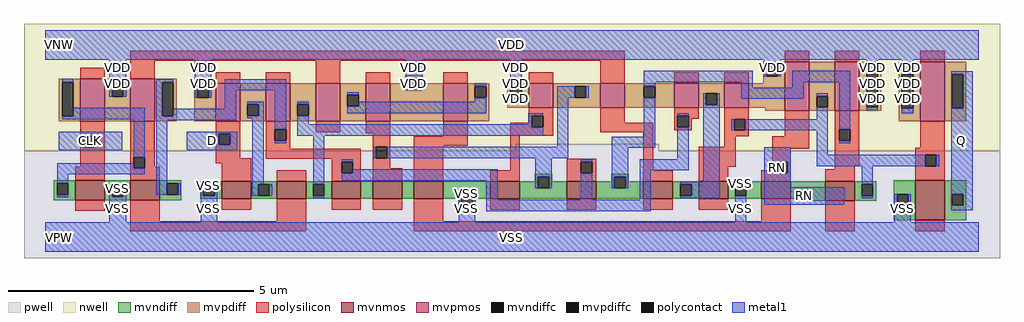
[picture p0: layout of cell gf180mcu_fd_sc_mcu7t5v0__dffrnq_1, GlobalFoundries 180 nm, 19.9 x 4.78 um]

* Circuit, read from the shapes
.subckt gf180mcu_fd_sc_mcu7t5v0__dffrnq_1 D RN CLK Q VDD VNW VPW VSS
XM1 VSS CLK n1 VPW nfet_06v0 w=0.405u l=0.6u
XM2 n2 n1 VSS VPW nfet_06v0 w=0.405u l=0.6u
XM3 n3 D VSS VPW nfet_06v0 w=0.36u l=0.6u
XM4 n4 n1 n3 VPW nfet_06v0 w=0.36u l=0.6u
XM5 n5 n2 n4 VPW nfet_06v0 w=0.36u l=0.6u
XM6 n6 n7 n5 VPW nfet_06v0 w=0.36u l=0.6u
XM7 VSS RN n6 VPW nfet_06v0 w=0.36u l=0.6u
XM8 n7 n4 VSS VPW nfet_06v0 w=0.36u l=0.6u
XM9 n8 n2 n7 VPW nfet_06v0 w=0.36u l=0.6u
XM10 n9 n1 n8 VPW nfet_06v0 w=0.36u l=0.6u
XM11 VSS n10 n9 VPW nfet_06v0 w=0.36u l=0.6u
XM12 n11 RN VSS VPW nfet_06v0 w=0.36u l=0.6u
XM13 n10 n8 n11 VPW nfet_06v0 w=0.4u l=0.6u
XM14 Q n10 VSS VPW nfet_06v0 w=0.815u l=0.6u
XM15 VDD CLK n1 VNW pfet_06v0 w=0.865u l=0.5u
XM16 n2 n1 VDD VNW pfet_06v0 w=0.865u l=0.5u
XM17 n3 D VDD VNW pfet_06v0 w=0.78u l=0.5u
XM18 n4 n2 n3 VNW pfet_06v0 w=0.78u l=0.5u
XM19 n12 n1 n4 VNW pfet_06v0 w=0.78u l=0.5u
XM20 VDD n7 n12 VNW pfet_06v0 w=0.78u l=0.5u
XM21 n12 RN VDD VNW pfet_06v0 w=0.78u l=0.5u
XM22 n7 n4 VDD VNW pfet_06v0 w=0.505u l=0.5u
XM23 n8 n1 n7 VNW pfet_06v0 w=0.505u l=0.5u
XM24 n9 n2 n8 VNW pfet_06v0 w=0.505u l=0.5u
XM25 VDD n10 n9 VNW pfet_06v0 w=0.505u l=0.5u
XM26 n10 RN VDD VNW pfet_06v0 w=1u l=0.5u
XM27 VDD n8 n10 VNW pfet_06v0 w=1u l=0.5u
XM28 Q n10 VDD VNW pfet_06v0 w=1.215u l=0.5u
.ends

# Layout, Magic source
magic
tech gf180mcuD
magscale 1 10
<< nwell >>
rect -86 379 3894 870
rect -86 352 1920 379
rect 2503 352 3894 379
<< pwell >>
rect 1920 352 2503 379
rect -86 -86 3894 352
<< mvnmos >>
rect 124 151 244 232
rect 348 151 468 232
rect 720 156 840 228
rect 944 156 1064 228
rect 1168 156 1288 228
rect 1336 156 1456 228
rect 1504 156 1624 228
rect 1816 156 1936 228
rect 2128 156 2248 228
rect 2440 156 2560 228
rect 2665 156 2785 228
rect 2921 156 3041 228
rect 3181 148 3301 228
rect 3549 69 3669 232
<< mvpmos >>
rect 144 472 244 645
rect 348 472 448 645
rect 696 472 796 628
rect 900 472 1000 628
rect 1104 472 1204 628
rect 1308 472 1408 628
rect 1624 472 1724 628
rect 1972 527 2072 628
rect 2264 527 2364 628
rect 2565 527 2665 628
rect 2769 527 2869 628
rect 3017 516 3117 716
rect 3221 516 3321 716
rect 3569 472 3669 715
<< mvndiff >>
rect 36 219 124 232
rect 36 173 49 219
rect 95 173 124 219
rect 36 151 124 173
rect 244 210 348 232
rect 244 164 273 210
rect 319 164 348 210
rect 244 151 348 164
rect 468 219 556 232
rect 1996 246 2068 259
rect 1996 228 2009 246
rect 468 173 497 219
rect 543 173 556 219
rect 468 151 556 173
rect 632 215 720 228
rect 632 169 645 215
rect 691 169 720 215
rect 632 156 720 169
rect 840 215 944 228
rect 840 169 869 215
rect 915 169 944 215
rect 840 156 944 169
rect 1064 215 1168 228
rect 1064 169 1093 215
rect 1139 169 1168 215
rect 1064 156 1168 169
rect 1288 156 1336 228
rect 1456 156 1504 228
rect 1624 183 1816 228
rect 1624 156 1697 183
rect 1684 137 1697 156
rect 1743 156 1816 183
rect 1936 200 2009 228
rect 2055 228 2068 246
rect 2308 246 2380 259
rect 2308 228 2321 246
rect 2055 200 2128 228
rect 1936 156 2128 200
rect 2248 200 2321 228
rect 2367 228 2380 246
rect 2367 200 2440 228
rect 2248 156 2440 200
rect 2560 215 2665 228
rect 2560 169 2590 215
rect 2636 169 2665 215
rect 2560 156 2665 169
rect 2785 215 2921 228
rect 2785 169 2814 215
rect 2860 169 2921 215
rect 2785 156 2921 169
rect 3041 156 3181 228
rect 1743 137 1756 156
rect 1684 124 1756 137
rect 3101 148 3181 156
rect 3301 215 3389 228
rect 3301 169 3330 215
rect 3376 169 3389 215
rect 3301 148 3389 169
rect 3461 175 3549 232
rect 3461 129 3474 175
rect 3520 129 3549 175
rect 3461 69 3549 129
rect 3669 175 3757 232
rect 3669 129 3698 175
rect 3744 129 3757 175
rect 3669 69 3757 129
<< mvpdiff >>
rect 56 632 144 645
rect 56 492 69 632
rect 115 492 144 632
rect 56 472 144 492
rect 244 619 348 645
rect 244 573 273 619
rect 319 573 348 619
rect 244 472 348 573
rect 448 632 536 645
rect 448 492 477 632
rect 523 492 536 632
rect 1468 647 1540 660
rect 1468 628 1481 647
rect 448 472 536 492
rect 608 615 696 628
rect 608 569 621 615
rect 667 569 696 615
rect 608 472 696 569
rect 796 541 900 628
rect 796 495 825 541
rect 871 495 900 541
rect 796 472 900 495
rect 1000 541 1104 628
rect 1000 495 1029 541
rect 1075 495 1104 541
rect 1000 472 1104 495
rect 1204 580 1308 628
rect 1204 534 1233 580
rect 1279 534 1308 580
rect 1204 472 1308 534
rect 1408 601 1481 628
rect 1527 628 1540 647
rect 2929 702 3017 716
rect 2929 656 2942 702
rect 2988 656 3017 702
rect 2929 628 3017 656
rect 1527 601 1624 628
rect 1408 472 1624 601
rect 1724 615 1812 628
rect 1724 569 1753 615
rect 1799 569 1812 615
rect 1724 472 1812 569
rect 1884 615 1972 628
rect 1884 569 1897 615
rect 1943 569 1972 615
rect 1884 527 1972 569
rect 2072 615 2264 628
rect 2072 569 2159 615
rect 2205 569 2264 615
rect 2072 527 2264 569
rect 2364 615 2565 628
rect 2364 569 2442 615
rect 2488 569 2565 615
rect 2364 527 2565 569
rect 2665 586 2769 628
rect 2665 540 2694 586
rect 2740 540 2769 586
rect 2665 527 2769 540
rect 2869 527 3017 628
rect 2937 516 3017 527
rect 3117 575 3221 716
rect 3117 529 3146 575
rect 3192 529 3221 575
rect 3117 516 3221 529
rect 3321 669 3409 716
rect 3321 529 3350 669
rect 3396 529 3409 669
rect 3321 516 3409 529
rect 3481 665 3569 715
rect 3481 525 3494 665
rect 3540 525 3569 665
rect 3481 472 3569 525
rect 3669 665 3757 715
rect 3669 525 3698 665
rect 3744 525 3757 665
rect 3669 472 3757 525
<< mvndiffc >>
rect 49 173 95 219
rect 273 164 319 210
rect 497 173 543 219
rect 645 169 691 215
rect 869 169 915 215
rect 1093 169 1139 215
rect 1697 137 1743 183
rect 2009 200 2055 246
rect 2321 200 2367 246
rect 2590 169 2636 215
rect 2814 169 2860 215
rect 3330 169 3376 215
rect 3474 129 3520 175
rect 3698 129 3744 175
<< mvpdiffc >>
rect 69 492 115 632
rect 273 573 319 619
rect 477 492 523 632
rect 621 569 667 615
rect 825 495 871 541
rect 1029 495 1075 541
rect 1233 534 1279 580
rect 1481 601 1527 647
rect 2942 656 2988 702
rect 1753 569 1799 615
rect 1897 569 1943 615
rect 2159 569 2205 615
rect 2442 569 2488 615
rect 2694 540 2740 586
rect 3146 529 3192 575
rect 3350 529 3396 669
rect 3494 525 3540 665
rect 3698 525 3744 665
<< polysilicon >>
rect 348 720 2364 760
rect 144 645 244 690
rect 348 645 448 720
rect 696 628 796 672
rect 900 628 1000 672
rect 1104 628 1204 720
rect 1308 628 1408 672
rect 1624 628 1724 672
rect 1972 628 2072 672
rect 2264 628 2364 720
rect 3017 716 3117 760
rect 3221 716 3321 760
rect 2565 628 2665 672
rect 2769 628 2869 672
rect 1972 494 2072 527
rect 144 412 244 472
rect 144 366 157 412
rect 203 366 244 412
rect 144 288 244 366
rect 124 232 244 288
rect 348 326 448 472
rect 348 280 361 326
rect 407 288 448 326
rect 696 422 796 472
rect 696 376 709 422
rect 755 376 796 422
rect 696 322 796 376
rect 900 439 1000 472
rect 900 393 937 439
rect 983 393 1000 439
rect 1104 428 1204 472
rect 1308 423 1408 472
rect 900 360 1000 393
rect 1336 368 1408 423
rect 1624 412 1724 472
rect 1972 467 1985 494
rect 696 302 840 322
rect 900 320 1288 360
rect 407 280 468 288
rect 348 232 468 280
rect 720 228 840 302
rect 1168 307 1288 320
rect 944 228 1064 272
rect 1168 261 1209 307
rect 1255 261 1288 307
rect 1168 228 1288 261
rect 1336 322 1349 368
rect 1395 322 1408 368
rect 1336 280 1408 322
rect 1504 372 1724 412
rect 1896 448 1985 467
rect 2031 448 2072 494
rect 1896 414 2072 448
rect 2264 467 2364 527
rect 2565 494 2665 527
rect 2264 427 2480 467
rect 2565 448 2578 494
rect 2624 483 2665 494
rect 2624 448 2637 483
rect 2565 435 2637 448
rect 2769 481 2869 527
rect 3569 715 3669 760
rect 2769 435 2810 481
rect 2856 435 2869 481
rect 1336 228 1456 280
rect 1504 228 1624 372
rect 1896 272 1936 414
rect 1816 228 1936 272
rect 2128 307 2248 320
rect 2128 261 2185 307
rect 2231 261 2248 307
rect 124 107 244 151
rect 348 64 468 151
rect 720 112 840 156
rect 944 64 1064 156
rect 1168 112 1288 156
rect 1336 112 1456 156
rect 348 24 1064 64
rect 1504 64 1624 156
rect 2128 228 2248 261
rect 2440 272 2480 427
rect 2769 412 2869 435
rect 3017 412 3117 516
rect 2769 368 2817 412
rect 2665 288 2817 368
rect 2965 361 3117 412
rect 3221 439 3321 516
rect 3221 393 3238 439
rect 3284 393 3321 439
rect 2965 307 3041 361
rect 2440 228 2560 272
rect 2665 228 2785 288
rect 2965 272 2982 307
rect 2921 261 2982 272
rect 3028 261 3041 307
rect 3221 292 3321 393
rect 3569 364 3669 472
rect 3549 336 3669 364
rect 3221 276 3301 292
rect 2921 228 3041 261
rect 3181 228 3301 276
rect 3549 290 3589 336
rect 3635 290 3669 336
rect 3549 232 3669 290
rect 1816 112 1936 156
rect 2128 112 2248 156
rect 2440 112 2560 156
rect 2665 112 2785 156
rect 2921 64 3041 156
rect 1504 24 3041 64
rect 3181 24 3301 148
rect 3549 24 3669 69
<< polycontact >>
rect 157 366 203 412
rect 361 280 407 326
rect 709 376 755 422
rect 937 393 983 439
rect 1209 261 1255 307
rect 1349 322 1395 368
rect 1985 448 2031 494
rect 2578 448 2624 494
rect 2810 435 2856 481
rect 2185 261 2231 307
rect 3238 393 3284 439
rect 2982 261 3028 307
rect 3589 290 3635 336
<< metal1 >>
rect 0 724 3808 844
rect 69 632 115 645
rect 262 619 330 724
rect 262 573 273 619
rect 319 573 330 619
rect 453 632 523 643
rect 115 492 407 527
rect 69 481 407 492
rect 56 412 314 430
rect 56 366 157 412
rect 203 366 314 412
rect 56 354 314 366
rect 361 326 407 481
rect 49 280 361 302
rect 49 256 407 280
rect 453 492 477 632
rect 610 615 678 724
rect 1470 647 1538 724
rect 610 569 621 615
rect 667 569 678 615
rect 733 598 983 644
rect 1470 601 1481 647
rect 1527 601 1538 647
rect 1470 598 1538 601
rect 1753 615 1799 626
rect 733 523 779 598
rect 523 492 779 523
rect 453 477 779 492
rect 825 541 891 552
rect 871 495 891 541
rect 825 484 891 495
rect 49 219 95 256
rect 453 219 499 477
rect 578 422 784 430
rect 578 376 709 422
rect 755 376 784 422
rect 578 354 784 376
rect 49 162 95 173
rect 262 164 273 210
rect 319 164 331 210
rect 453 173 497 219
rect 543 173 554 219
rect 845 215 891 484
rect 937 439 983 598
rect 1233 580 1279 591
rect 1029 541 1075 552
rect 1753 552 1799 569
rect 1897 615 1943 724
rect 2931 702 2999 724
rect 2442 632 2885 678
rect 2931 656 2942 702
rect 2988 656 2999 702
rect 2442 615 2488 632
rect 1897 558 1943 569
rect 2088 569 2159 615
rect 2205 569 2216 615
rect 2839 610 2885 632
rect 3047 632 3284 678
rect 3047 610 3093 632
rect 1279 534 1799 552
rect 1233 506 1799 534
rect 1029 460 1075 495
rect 1971 494 2031 505
rect 1971 460 1985 494
rect 1029 448 1985 460
rect 1029 414 2031 448
rect 937 382 983 393
rect 1093 215 1139 414
rect 2088 368 2134 569
rect 2442 410 2488 569
rect 2683 540 2694 586
rect 2740 540 2751 586
rect 2839 564 3093 610
rect 3146 575 3192 586
rect 1338 322 1349 368
rect 1395 322 2134 368
rect 2310 364 2488 410
rect 2578 494 2624 505
rect 1209 307 1255 318
rect 1255 261 1846 276
rect 1209 230 1846 261
rect 262 60 331 164
rect 634 169 645 215
rect 691 169 702 215
rect 845 169 869 215
rect 915 169 926 215
rect 634 60 702 169
rect 1093 158 1139 169
rect 1686 137 1697 183
rect 1743 137 1754 183
rect 1686 60 1754 137
rect 1800 152 1846 230
rect 1998 246 2066 322
rect 1998 200 2009 246
rect 2055 200 2066 246
rect 2185 307 2231 318
rect 2185 152 2231 261
rect 2310 246 2378 364
rect 2578 318 2624 448
rect 2310 200 2321 246
rect 2367 200 2378 246
rect 2424 272 2624 318
rect 2424 152 2470 272
rect 2683 226 2751 540
rect 3146 481 3192 529
rect 2799 435 2810 481
rect 2856 435 3192 481
rect 2932 307 3041 366
rect 2932 261 2982 307
rect 3028 261 3041 307
rect 3146 336 3192 435
rect 3238 439 3284 632
rect 3350 669 3396 724
rect 3350 518 3396 529
rect 3494 665 3540 724
rect 3494 506 3540 525
rect 3695 665 3782 676
rect 3695 525 3698 665
rect 3744 525 3782 665
rect 3238 382 3284 393
rect 3146 290 3589 336
rect 3635 290 3646 336
rect 2590 215 2751 226
rect 2636 169 2751 215
rect 2590 158 2751 169
rect 2814 215 2860 226
rect 1800 106 2470 152
rect 2814 60 2860 169
rect 2932 204 3041 261
rect 3330 215 3376 290
rect 2932 132 3259 204
rect 3695 175 3782 525
rect 3330 158 3376 169
rect 3463 129 3474 175
rect 3520 129 3531 175
rect 3463 60 3531 129
rect 3695 129 3698 175
rect 3744 129 3782 175
rect 3695 110 3782 129
rect 0 -60 3808 60
<< labels >>
flabel metal1 s 578 354 784 430 0 FreeSans 600 0 0 0 D
port 1 nsew default input
flabel metal1 s 3695 110 3782 676 0 FreeSans 600 0 0 0 Q
port 4 nsew default output
flabel metal1 s 2932 204 3041 366 0 FreeSans 600 0 0 0 RN
port 2 nsew default input
flabel metal1 s 2814 215 2860 226 0 FreeSans 600 0 0 0 VSS
port 8 nsew ground bidirectional abutment
flabel metal1 s 56 354 314 430 0 FreeSans 600 0 0 0 CLK
port 3 nsew clock input
flabel metal1 s 0 724 3808 844 0 FreeSans 600 0 0 0 VDD
port 5 nsew power bidirectional abutment
flabel nwell s 10 734 110 834 0 FreeSans 400 0 0 0 VNW
port 6 nsew power bidirectional
flabel pwell s 10 -50 110 50 0 FreeSans 400 0 0 0 VPW
port 7 nsew ground bidirectional
rlabel metal1 s 2932 132 3259 204 1 RN
port 2 nsew default input
rlabel metal1 s 3494 656 3540 724 1 VDD
port 5 nsew power bidirectional abutment
rlabel metal1 s 3350 656 3396 724 1 VDD
port 5 nsew power bidirectional abutment
rlabel metal1 s 2931 656 2999 724 1 VDD
port 5 nsew power bidirectional abutment
rlabel metal1 s 1897 656 1943 724 1 VDD
port 5 nsew power bidirectional abutment
rlabel metal1 s 1470 656 1538 724 1 VDD
port 5 nsew power bidirectional abutment
rlabel metal1 s 610 656 678 724 1 VDD
port 5 nsew power bidirectional abutment
rlabel metal1 s 262 656 330 724 1 VDD
port 5 nsew power bidirectional abutment
rlabel metal1 s 3494 598 3540 656 1 VDD
port 5 nsew power bidirectional abutment
rlabel metal1 s 3350 598 3396 656 1 VDD
port 5 nsew power bidirectional abutment
rlabel metal1 s 1897 598 1943 656 1 VDD
port 5 nsew power bidirectional abutment
rlabel metal1 s 1470 598 1538 656 1 VDD
port 5 nsew power bidirectional abutment
rlabel metal1 s 610 598 678 656 1 VDD
port 5 nsew power bidirectional abutment
rlabel metal1 s 262 598 330 656 1 VDD
port 5 nsew power bidirectional abutment
rlabel metal1 s 3494 573 3540 598 1 VDD
port 5 nsew power bidirectional abutment
rlabel metal1 s 3350 573 3396 598 1 VDD
port 5 nsew power bidirectional abutment
rlabel metal1 s 1897 573 1943 598 1 VDD
port 5 nsew power bidirectional abutment
rlabel metal1 s 610 573 678 598 1 VDD
port 5 nsew power bidirectional abutment
rlabel metal1 s 262 573 330 598 1 VDD
port 5 nsew power bidirectional abutment
rlabel metal1 s 3494 569 3540 573 1 VDD
port 5 nsew power bidirectional abutment
rlabel metal1 s 3350 569 3396 573 1 VDD
port 5 nsew power bidirectional abutment
rlabel metal1 s 1897 569 1943 573 1 VDD
port 5 nsew power bidirectional abutment
rlabel metal1 s 610 569 678 573 1 VDD
port 5 nsew power bidirectional abutment
rlabel metal1 s 3494 558 3540 569 1 VDD
port 5 nsew power bidirectional abutment
rlabel metal1 s 3350 558 3396 569 1 VDD
port 5 nsew power bidirectional abutment
rlabel metal1 s 1897 558 1943 569 1 VDD
port 5 nsew power bidirectional abutment
rlabel metal1 s 3494 518 3540 558 1 VDD
port 5 nsew power bidirectional abutment
rlabel metal1 s 3350 518 3396 558 1 VDD
port 5 nsew power bidirectional abutment
rlabel metal1 s 3494 506 3540 518 1 VDD
port 5 nsew power bidirectional abutment
rlabel metal1 s 2814 210 2860 215 1 VSS
port 8 nsew ground bidirectional abutment
rlabel metal1 s 634 210 702 215 1 VSS
port 8 nsew ground bidirectional abutment
rlabel metal1 s 2814 183 2860 210 1 VSS
port 8 nsew ground bidirectional abutment
rlabel metal1 s 634 183 702 210 1 VSS
port 8 nsew ground bidirectional abutment
rlabel metal1 s 262 183 331 210 1 VSS
port 8 nsew ground bidirectional abutment
rlabel metal1 s 2814 175 2860 183 1 VSS
port 8 nsew ground bidirectional abutment
rlabel metal1 s 1686 175 1754 183 1 VSS
port 8 nsew ground bidirectional abutment
rlabel metal1 s 634 175 702 183 1 VSS
port 8 nsew ground bidirectional abutment
rlabel metal1 s 262 175 331 183 1 VSS
port 8 nsew ground bidirectional abutment
rlabel metal1 s 3463 60 3531 175 1 VSS
port 8 nsew ground bidirectional abutment
rlabel metal1 s 2814 60 2860 175 1 VSS
port 8 nsew ground bidirectional abutment
rlabel metal1 s 1686 60 1754 175 1 VSS
port 8 nsew ground bidirectional abutment
rlabel metal1 s 634 60 702 175 1 VSS
port 8 nsew ground bidirectional abutment
rlabel metal1 s 262 60 331 175 1 VSS
port 8 nsew ground bidirectional abutment
rlabel metal1 s 0 -60 3808 60 1 VSS
port 8 nsew ground bidirectional abutment
<< properties >>
string FIXED_BBOX 0 0 3808 784
string GDS_END 998662
string GDS_FILE $PDKPATH/libs.ref/gf180mcu_fd_sc_mcu7t5v0/gds/gf180mcu_fd_sc_mcu7t5v0.gds
string GDS_START 989988
string LEFclass core
string LEFsite GF018hv5v_mcu_sc7
string LEFsymmetry X Y
<< end >>
